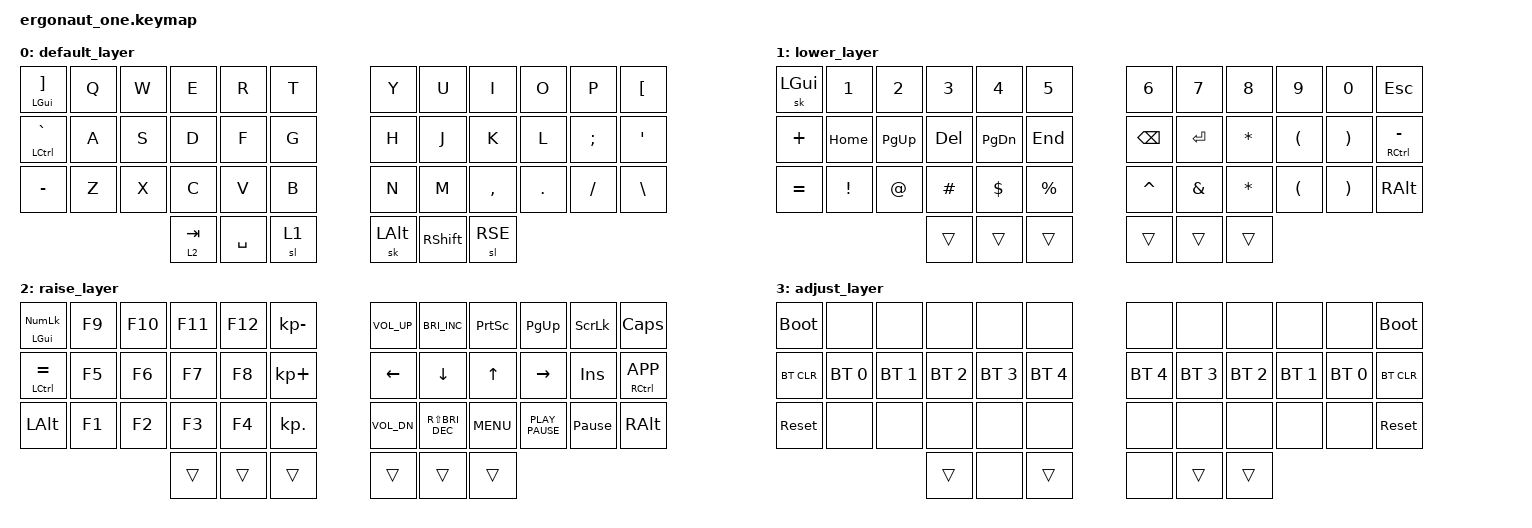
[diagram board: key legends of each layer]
#include <behaviors.dtsi>
#include <dt-bindings/zmk/bt.h>
#include <dt-bindings/zmk/keys.h>

#define DEF 0
#define LWR 1
#define RSE 2
#define ADJ 3

&lt { quick-tap-ms = <200>; };

&mt { quick-tap-ms = <200>; };

/ {
    conditional_layers {
        compatible = "zmk,conditional-layers";

        tri-layer {
            if-layers = <1 2>;
            then-layer = <3>;
        };
    };

    keymap {
        compatible = "zmk,keymap";

        default_layer {
            bindings = <
&mt LGUI RBKT    &kp Q  &kp W  &kp E      &kp R      &kp T  &kp Y         &kp U      &kp I      &kp O    &kp P     &kp LBKT
&mt LCTRL GRAVE  &kp A  &kp S  &kp D      &kp F      &kp G  &kp H         &kp J      &kp K      &kp L    &kp SEMI  &kp SINGLE_QUOTE
&kp MINUS        &kp Z  &kp X  &kp C      &kp V      &kp B  &kp N         &kp M      &kp COMMA  &kp DOT  &kp FSLH  &kp BACKSLASH
                               &lt 2 TAB  &kp SPACE  &sl 1  &sk LEFT_ALT  &kp RSHFT  &sl RSE
            >;
        };

        lower_layer {
            bindings = <
&sk LGUI   &kp NUMBER_1  &kp NUMBER_2  &kp NUMBER_3  &kp NUMBER_4   &kp NUMBER_5  &kp NUMBER_6   &kp NUMBER_7   &kp NUMBER_8  &kp NUMBER_9          &kp NUMBER_0           &kp ESCAPE
&kp PLUS   &kp HOME      &kp PAGE_UP   &kp DEL       &kp PAGE_DOWN  &kp END       &kp BACKSPACE  &kp ENTER      &kp STAR      &kp LPAR              &kp RPAR               &mt RCTRL MINUS
&kp EQUAL  &kp EXCL      &kp AT        &kp HASH      &kp DOLLAR     &kp PERCENT   &kp CARET      &kp AMPERSAND  &kp STAR      &kp LEFT_PARENTHESIS  &kp RIGHT_PARENTHESIS  &kp RALT
                                       &trans        &trans         &trans        &trans         &trans         &trans
            >;
        };

        raise_layer {
            bindings = <
&mt LGUI KP_NUM  &kp F9  &kp F10  &kp F11  &kp F12  &kp KP_MINUS  &kp C_VOL_UP  &kp C_BRIGHTNESS_INC      &kp PSCRN   &kp PG_UP         &kp SLCK         &kp CLCK
&mt LCTRL EQUAL  &kp F5  &kp F6   &kp F7   &kp F8   &kp KP_PLUS   &kp LEFT      &kp DOWN                  &kp UP      &kp RIGHT         &kp INS          &mt RCTRL K_APP
&kp LALT         &kp F1  &kp F2   &kp F3   &kp F4   &kp KP_DOT    &kp C_VOL_DN  &kp RS(C_BRIGHTNESS_DEC)  &kp C_MENU  &kp K_PLAY_PAUSE  &kp PAUSE_BREAK  &kp RALT
                                  &trans   &trans   &trans        &trans        &trans                    &trans
            >;
        };

        adjust_layer {
            bindings = <
&bootloader  &none         &none         &none         &none         &none         &none         &none         &none         &none         &none         &bootloader
&bt BT_CLR   &bt BT_SEL 0  &bt BT_SEL 1  &bt BT_SEL 2  &bt BT_SEL 3  &bt BT_SEL 4  &bt BT_SEL 4  &bt BT_SEL 3  &bt BT_SEL 2  &bt BT_SEL 1  &bt BT_SEL 0  &bt BT_CLR
&sys_reset   &none         &none         &none         &none         &none         &none         &none         &none         &none         &none         &sys_reset
                                         &trans        &none         &trans        &none         &trans        &trans
            >;
        };
    };
};
